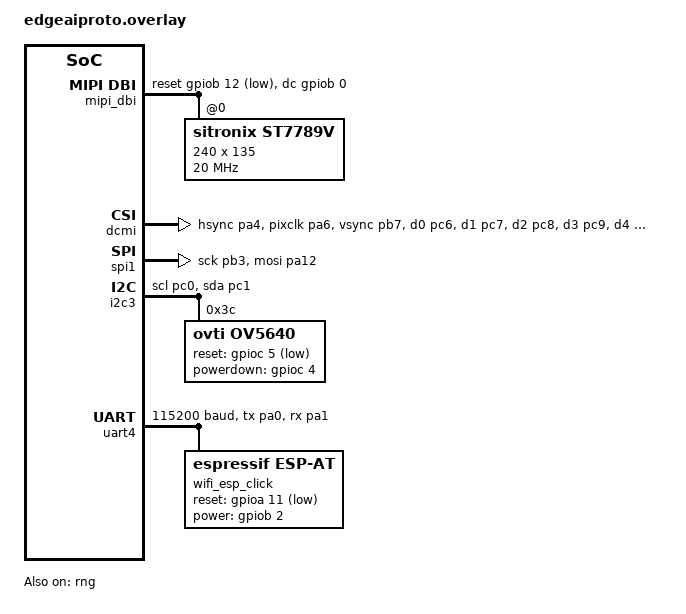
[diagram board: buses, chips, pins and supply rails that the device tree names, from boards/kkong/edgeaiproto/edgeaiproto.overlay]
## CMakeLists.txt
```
# SPDX-License-Identifier: Apache-2.0

cmake_minimum_required(VERSION 3.20.0)
# Out-of-tree modules: STM32U5 DCMI driver + Golioth Firmware SDK (see west.yml and docs/GOLIOTH_OTA.md)
set(_zephyr_extra_modules "${CMAKE_CURRENT_SOURCE_DIR}/modules/stm32u5_dcmi")
if(EXISTS "${CMAKE_CURRENT_SOURCE_DIR}/modules/golioth-firmware-sdk/zephyr/module.yml")
  set(_zephyr_extra_modules "${_zephyr_extra_modules};${CMAKE_CURRENT_SOURCE_DIR}/modules/golioth-firmware-sdk")
endif()
if(NOT ZEPHYR_EXTRA_MODULES)
  set(ZEPHYR_EXTRA_MODULES "${_zephyr_extra_modules}" CACHE STRING "Extra Zephyr modules")
endif()

# Read APP_VERSION from app_version.h and pass to imgtool for MCUboot signing
set(VERSION_HEADER "${CMAKE_CURRENT_SOURCE_DIR}/include/app_version.h")
if(EXISTS "${VERSION_HEADER}")
  file(STRINGS "${VERSION_HEADER}" VERSION_LINES REGEX "#define APP_VERSION")
  foreach(LINE ${VERSION_LINES})
    if(LINE MATCHES "#define APP_VERSION \"([^\"]+)\"")
      set(APP_VERSION "${CMAKE_MATCH_1}")
      break()
    endif()
  endforeach()
endif()
if(NOT DEFINED APP_VERSION)
  set(APP_VERSION "0.0.0")
  message(WARNING "Could not parse APP_VERSION from app_version.h, using 0.0.0")
endif()
file(WRITE "${CMAKE_CURRENT_BINARY_DIR}/version.conf"
  "CONFIG_MCUBOOT_IMGTOOL_SIGN_VERSION=\"${APP_VERSION}\"\n")
set(OVERLAY_CONFIG ${OVERLAY_CONFIG} "${CMAKE_CURRENT_BINARY_DIR}/version.conf")
message(STATUS "MCUboot image version: ${APP_VERSION} (from app_version.h)")

find_package(Zephyr REQUIRED HINTS $ENV{ZEPHYR_BASE})
project(kk_edge_ai_tflm_hello)

# Generate build version header at build time (ensures Build date updates every build)
set(BUILD_VERSION_H "${CMAKE_CURRENT_BINARY_DIR}/include/generated/build_version.h")
add_custom_target(generate_build_version
  COMMAND ${CMAKE_COMMAND} -E make_directory "${CMAKE_CURRENT_BINARY_DIR}/include/generated"
  COMMAND ${CMAKE_COMMAND} -DOUTPUT_FILE="${BUILD_VERSION_H}" -P "${CMAKE_CURRENT_SOURCE_DIR}/cmake/generate_build_version.cmake"
  COMMENT "Generating build version header"
  BYPRODUCTS "${BUILD_VERSION_H}"
)
add_dependencies(app generate_build_version)
target_include_directories(app PRIVATE
  "${CMAKE_CURRENT_BINARY_DIR}/include/generated"
  "${CMAKE_CURRENT_SOURCE_DIR}/include"
)

target_sources(app PRIVATE src/main.c)
target_sources(app PRIVATE src/golioth_capture_prompt_sync.c)
target_sources(app PRIVATE src/app_runtime.c)
target_sources(app PRIVATE src/camera_pipeline.c)
target_sources(app PRIVATE src/camera_runtime.c)
target_sources(app PRIVATE src/dfu_state.c)
target_sources(app PRIVATE src/display_text.c)
target_sources(app PRIVATE src/display_overlay.c)
target_sources(app PRIVATE src/display_screen.c)
target_sources(app PRIVATE src/input_buttons.c)
target_sources(app PRIVATE src/status_led.c)
target_sources(app PRIVATE src/esp_shell.c)
target_sources(app PRIVATE src/wifi_autoconnect.c)
target_sources(app PRIVATE src/wifi_link.c)

# ESP-AT driver private headers (needed by esp_shell.c for esp_cmd_send / esp_driver_data)
target_include_directories(app PRIVATE
  ${ZEPHYR_BASE}/drivers/wifi/esp_at
  ${ZEPHYR_BASE}/drivers/modem
)
target_sources(app PRIVATE
  src/tflm_hello_world/model_settings.c
  src/tflm_hello_world/person_detect_model_data.c
  src/tflm_hello_world/main_functions.cpp
  src/tflm_hello_world/output_handler.cpp
  src/tflm_hello_world/assert.cpp
)
target_include_directories(app PRIVATE src/tflm_hello_world)

# TFLM hello_world uses local static init; disable thread-safe statics for C++
zephyr_compile_options($<$<COMPILE_LANGUAGE:CXX>:-fno-threadsafe-statics>)

if(CONFIG_GOLIOTH_OTA)
  if(NOT EXISTS "${CMAKE_CURRENT_SOURCE_DIR}/modules/golioth-firmware-sdk/zephyr/module.yml")
    message(FATAL_ERROR "Golioth Firmware SDK not found. Clone v0.22.0 into modules/golioth-firmware-sdk (see docs/GOLIOTH_OTA.md).")
  endif()
  target_sources(app PRIVATE
    src/golioth_ota.c
    src/golioth_ui.c
    src/ota_download_ui.c
    ${CMAKE_CURRENT_SOURCE_DIR}/modules/golioth-firmware-sdk/examples/zephyr/fw_update/src/fw_update.c
  )
  target_include_directories(app PRIVATE
    ${CMAKE_CURRENT_SOURCE_DIR}/modules/golioth-firmware-sdk/examples/zephyr/fw_update/src
  )
endif()
```

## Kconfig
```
mainmenu "Edge AI Hello World"

source "Kconfig.zephyr"

menu "Application options"

config APP_ENABLE_INFERENCE
	bool "Enable camera inference thread"
	default y
	depends on TENSORFLOW_LITE_MICRO
	help
	  Enables TensorFlow Lite Micro inference processing and starts the
	  inference runtime thread. Disable this for camera/display-only runs.

endmenu

menu "WiFi auto-connect"

config WIFI_AUTOCONNECT
	bool "Auto-connect to WiFi on boot"
	default y
	depends on WIFI_ESP_AT
	help
	  Automatically connect to the configured WiFi network at startup.
	  The connection attempt runs in a background thread so it does not
	  block camera, display, or inference.

config WIFI_AUTOCONNECT_SSID
	string "Primary WiFi SSID"
	default ""
	depends on WIFI_AUTOCONNECT
	help
	  SSID of the primary WiFi network to connect to on boot.

config WIFI_AUTOCONNECT_PSK
	string "Primary WiFi passphrase (WPA2-PSK)"
	default ""
	depends on WIFI_AUTOCONNECT
	help
	  WPA2-PSK passphrase for the primary WiFi network.
	  Leave empty for open networks.

config WIFI_AUTOCONNECT_SSID2
	string "Secondary WiFi SSID"
	default ""
	depends on WIFI_AUTOCONNECT
	help
	  SSID of a secondary WiFi network.  If the primary network is
	  not reachable, the auto-connect routine will try this one.
	  Leave empty to disable the secondary network.

config WIFI_AUTOCONNECT_PSK2
	string "Secondary WiFi passphrase (WPA2-PSK)"
	default ""
	depends on WIFI_AUTOCONNECT
	help
	  WPA2-PSK passphrase for the secondary WiFi network.
	  Leave empty for open networks.

config WIFI_AUTOCONNECT_RETRY_TIMEOUT_S
	int "Connection retry timeout (seconds)"
	default 60
	depends on WIFI_AUTOCONNECT
	help
	  How long to keep retrying the WiFi connection before giving up.
	  Set to 0 to try only once.

endmenu

if GOLIOTH_OTA

config GOLIOTH_APP_PSK_ID
	string "Golioth PSK identity (device credentials)"
	default "my-psk-id"
	help
	  Lab-only: copy from Golioth Console device details. Use per-device
	  provisioning for production (not hardcoded secrets).

config GOLIOTH_APP_PSK
	string "Golioth PSK secret"
	default "my-psk"
	help
	  Lab-only: device pre-shared key. Replace with secure storage for production.

config GOLIOTH_FW_UPDATE_PACKAGE_NAME
	string "Golioth firmware package name"
	default "main"
	help
	  Must match the package name in Golioth Console (Firmware Updates).

config GOLIOTH_FW_UPDATE_OBSERVATION_RETRY_MAX_DELAY_S
	int "Maximum delay before retrying OTA manifest observation (seconds)"
	default 300

config GOLIOTH_FW_UPDATE_THREAD_STACK_SIZE
	int "Golioth OTA thread stack size"
	default 4096

config GOLIOTH_FW_UPDATE_ROLLBACK_TIMER_S
	int "FW update rollback timer (seconds) if Golioth unreachable after boot"
	default 300

config GOLIOTH_FW_UPDATE_IDLE_DISCONNECT
	bool "Stop Golioth client when up to date or package missing from manifest"
	default n
	help
	  After a manifest, call golioth_client_stop() when there is nothing useful to do:
	  cohort target version equals APP_VERSION, or the configured package name is absent from
	  the manifest. Reduces Wi-Fi traffic; new deployments are not detected until reboot
	  (or future reconnect logic).

endif # GOLIOTH_OTA
```

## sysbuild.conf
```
SB_CONFIG_BOOTLOADER_MCUBOOT=y
SB_CONFIG_MCUBOOT_MODE_OVERWRITE_ONLY=y
SB_CONFIG_BOOT_SIGNATURE_TYPE_ECDSA_P256=y
```

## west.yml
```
# SPDX-License-Identifier: Apache-2.0
#
# Merge this project into your Zephyr workspace west.yml under `projects:`, or
# use it as a supplemental manifest (see docs/GOLIOTH_OTA.md).
#
manifest:
  version: "0.13"
  remotes:
    - name: golioth
      url-base: https://github.com/golioth
  projects:
    - name: golioth-firmware-sdk
      path: modules/golioth-firmware-sdk
      remote: golioth
      revision: v0.22.0
```

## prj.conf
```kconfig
CONFIG_CACHE_MANAGEMENT=y
CONFIG_ICACHE=y

CONFIG_LOG=y
# All logging handled in dedicated thread (format + output); callers only enqueue
CONFIG_LOG_MODE_DEFERRED=y
# Increase buffer so high-rate logs don't drop (tune if needed)
CONFIG_LOG_BUFFER_SIZE=2048
# Default level for modules that do not set one (keep off).
CONFIG_LOG_DEFAULT_LEVEL=0
# Runtime filters default to LOG_DEFAULT_LEVEL (0) and silence all modules at boot,
# including those registered with LOG_LEVEL_INF. Turn off so compile-time per-module
# levels apply (see app_stats in camera_runtime.c for FPS / inference only).
CONFIG_LOG_RUNTIME_FILTERING=n
# Compile in INFO for the app_stats module; keep max at INF so we do not pull in DBG.
CONFIG_LOG_MAX_LEVEL=3
# No log output — required when MCUmgr shares UART with console (camera running).
# Any log output can corrupt SMP responses. Use 1+ for debug when camera is off.

# Full libc for TFLM and general use
CONFIG_REQUIRES_FULL_LIBC=y

CONFIG_DISPLAY=y
CONFIG_MIPI_DBI=y
CONFIG_SPI=y
CONFIG_SPI_STM32_DMA=y
CONFIG_GPIO=y
CONFIG_CBPRINTF_FP_SUPPORT=y

CONFIG_DMA=y
# UART DMA: when console UART has dmas in devicetree (uart_dma.overlay),
# the STM32 driver uses DMA if its Kconfig supports it (symbol name may vary per Zephyr/board).

CONFIG_I2C=y
CONFIG_VIDEO=y
CONFIG_VIDEO_OV5640=y
# Use out-of-tree STM32U5 DCMI driver (st,stm32u5-dcmi); in-tree driver not used
# CONFIG_VIDEO_STM32_DCMI=n
CONFIG_VIDEO_STM32U5_DCMI=y

# Heap set in Golioth block below (mbedTLS + Golioth + app)
CONFIG_VIDEO_BUFFER_POOL_SZ_MAX=64
CONFIG_VIDEO_BUFFER_POOL_NUM_MAX=1
CONFIG_VIDEO_BUFFER_POOL_ALIGN=64

# CONFIG_VIDEO_LOG_LEVEL_DBG=y
# CONFIG_DMA_LOG_LEVEL_DBG=y

CONFIG_CPP=y
CONFIG_STD_CPP17=y
CONFIG_APP_ENABLE_INFERENCE=y
CONFIG_TENSORFLOW_LITE_MICRO=y
# Enable optimized CMSIS-NN kernels for TFLM (faster conv/depthwise/FC)
CONFIG_TENSORFLOW_LITE_MICRO_CMSIS_NN_KERNELS=y
CONFIG_MAIN_STACK_SIZE=1536
CONFIG_REQUIRES_FLOAT_PRINTF=y

# MCUBoot bootloader support
CONFIG_BOOTLOADER_MCUBOOT=y
CONFIG_FLASH=y
CONFIG_FLASH_MAP=y
CONFIG_STREAM_FLASH=y
CONFIG_IMG_MANAGER=y
# Erase progressively so device responds faster (avoids full-slot erase before first chunk)
CONFIG_IMG_ERASE_PROGRESSIVELY=y

# MCUmgr SMP over UART (firmware update)
CONFIG_MCUMGR=y
CONFIG_NET_BUF=y
CONFIG_ZCBOR=y
CONFIG_BASE64=y
CONFIG_CRC=y
CONFIG_UART_INTERRUPT_DRIVEN=y
CONFIG_MCUMGR_TRANSPORT_UART=y
CONFIG_MCUMGR_GRP_IMG=y
CONFIG_MCUMGR_GRP_OS=y
CONFIG_MCUMGR_MGMT_NOTIFICATION_HOOKS=y
CONFIG_MCUMGR_SMP_COMMAND_STATUS_HOOKS=y
CONFIG_MCUMGR_GRP_IMG_STATUS_HOOKS=y
CONFIG_SYSTEM_WORKQUEUE_STACK_SIZE=4096
# Higher priority than camera (7) so MCUmgr image handler can preempt during DFU
CONFIG_SYSTEM_WORKQUEUE_PRIORITY=0
CONFIG_MCUMGR_TRANSPORT_NETBUF_SIZE=1024
CONFIG_MPU_ALLOW_FLASH_WRITE=y

# Entropy (required by networking stack for random number generation)
CONFIG_ENTROPY_GENERATOR=y
CONFIG_TEST_RANDOM_GENERATOR=n

# Networking stack (required for WiFi)
CONFIG_NETWORKING=y
CONFIG_NET_IPV4=y
CONFIG_NET_TCP=y
CONFIG_NET_UDP=y
CONFIG_NET_SOCKETS=y
CONFIG_NET_DHCPV4=y
CONFIG_NET_LOG=y

# ESP-AT WiFi driver (WiFi ESP Click on UART4)
CONFIG_WIFI=y
CONFIG_WIFI_ESP_AT=y
# Zephyr ESP-AT driver supports up to 2.1.x in this SDK.
# We upgraded the modem to 2.2.2; 2.1 is the closest supported profile.
CONFIG_WIFI_ESP_AT_VERSION_2_1=y
# Above camera/display/inference (11): avoid sharing priority 7 with ESP-AT (starved I/O → -116).
CONFIG_WIFI_ESP_AT_RX_THREAD_PRIORITY=6
CONFIG_WIFI_ESP_AT_WORKQ_THREAD_PRIORITY=6
CONFIG_WIFI_LOG_LEVEL_ERR=y

# WiFi auto-connect at boot (configure SSID/PSK here)
CONFIG_WIFI_AUTOCONNECT=y

# CONFIG_WIFI_AUTOCONNECT_RETRY_TIMEOUT_S=60

# Golioth Firmware SDK + cloud OTA (see docs/GOLIOTH_OTA.md; clone SDK into modules/golioth-firmware-sdk)
# Golioth uses POSIX eventfd via ZVFS; defaults are too low with camera/TFLM/net — see golioth_sys_zephyr eventfd errors.
CONFIG_ZVFS_OPEN_MAX=32
CONFIG_ZVFS_EVENTFD_MAX=24
CONFIG_GOLIOTH_FIRMWARE_SDK=y
CONFIG_GOLIOTH_OTA=y
# After manifest: stop client if up to date or CONFIG_GOLIOTH_FW_UPDATE_PACKAGE_NAME not in manifest.
CONFIG_GOLIOTH_FW_UPDATE_IDLE_DISCONNECT=y
# Zephyr CoAP default path length is 12; OTA artifact URIs from the manifest are longer. SDK ties
# CONFIG_GOLIOTH_COAP_MAX_PATH_LEN to COAP_EXTENDED_OPTIONS_LEN_VALUE (see port/zephyr/Kconfig "CoAP").
CONFIG_COAP_EXTENDED_OPTIONS_LEN=y
CONFIG_COAP_EXTENDED_OPTIONS_LEN_VALUE=128
# Zephyr LOG_* for Golioth SDK modules (golioth_coap_client_zephyr, golioth_sys_zephyr, …); ERR only.
CONFIG_GOLIOTH_LOG_LEVEL_ERR=y
# GLTH_LOGX internal level in SDK (1 = error per modules/golioth-firmware-sdk/src/Kconfig.logging)
CONFIG_GOLIOTH_DEBUG_DEFAULT_LOG_LEVEL=1
CONFIG_GOLIOTH_AUTH_METHOD_PSK=y
CONFIG_DNS_RESOLVER=y
CONFIG_DNS_SERVER_IP_ADDRESSES=y
CONFIG_DNS_SERVER1="1.1.1.1"
CONFIG_MBEDTLS_ENABLE_HEAP=y
CONFIG_MBEDTLS_HEAP_SIZE=16384
CONFIG_MBEDTLS_PSA_CRYPTO_C=y
CONFIG_IMG_ENABLE_IMAGE_CHECK=y
# Lab credentials: override CONFIG_GOLIOTH_APP_PSK_ID / CONFIG_GOLIOTH_APP_PSK (Kconfig defaults) or use menuconfig
# Heap: Golioth + mbedTLS + existing app (raise if OTA fails at runtime)
CONFIG_HEAP_MEM_POOL_SIZE=196608

# Shell disabled — USART1 is dedicated to MCUmgr SMP
# CONFIG_SHELL=y
# CONFIG_SHELL_BACKEND_SERIAL=y
# CONFIG_NET_SHELL=y
# CONFIG_NET_L2_WIFI_SHELL=y

# Add WiFi network credentials below

# Add Golioth client credentials below
```

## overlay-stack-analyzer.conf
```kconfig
# Stack usage instrumentation overlay (debug only).
# Use this overlay when profiling thread stack headroom, then remove it for normal runs.

# Required for per-thread stack accounting
CONFIG_THREAD_MONITOR=y
CONFIG_THREAD_NAME=y
CONFIG_THREAD_STACK_INFO=y

# Fill stacks with a known pattern so unused space can be measured
CONFIG_INIT_STACKS=y

# Detect stack overruns early during testing
CONFIG_STACK_SENTINEL=y

# Built-in Zephyr thread analyzer
CONFIG_THREAD_ANALYZER=y
CONFIG_THREAD_ANALYZER_AUTO=y
CONFIG_THREAD_ANALYZER_AUTO_INTERVAL=15
CONFIG_THREAD_ANALYZER_USE_PRINTK=y
CONFIG_THREAD_ANALYZER_ISR_STACK_USAGE=y
```

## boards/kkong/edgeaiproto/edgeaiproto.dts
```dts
/*
 * Copyright (c) 2021 STMicroelectronics
 *
 * SPDX-License-Identifier: Apache-2.0
 */

/dts-v1/;
#include <st/u5/stm32u585Xi.dtsi>
#include <st/u5/stm32u585ritx-pinctrl.dtsi>
#include <zephyr/dt-bindings/input/input-event-codes.h>

/ {
    model = "Kenneth Kong's Edge AI Prototype board";
    compatible = "kkong,edgeaiproto";

    chosen {
        zephyr,console = &usart1;
        zephyr,shell-uart = &usart1;
        zephyr,uart-mcumgr = &usart1;
        zephyr,sram = &sram0;
        zephyr,flash = &flash0;
        zephyr,code-partition = &slot0_partition;
    };

    leds {
		compatible = "gpio-leds";

		green_led_1: led_1 {
			gpios = <&gpioc 10 GPIO_ACTIVE_LOW>;
			label = "GRN LED";
		};

		red_led_1: led_2 {
			gpios = <&gpioc 12 GPIO_ACTIVE_LOW>;
			label = "RED LED";
		};
	};

    gpio_keys {
		compatible = "gpio-keys";

		user_button_sec: button_1 {
			label = "User Btn 1";
			gpios = <&gpioa 2 (GPIO_ACTIVE_HIGH)>;
			zephyr,code = <INPUT_KEY_0>;
		};
        
        user_button_pri: button_2 {
			label = "User Btn 2";
			gpios = <&gpioa 3 (GPIO_ACTIVE_HIGH)>;
			zephyr,code = <INPUT_KEY_0>;
		};
	};

    aliases {
        led0 = &green_led_1;
        led1 = &red_led_1;
        sw0 = &user_button_pri;
        sw1 = &user_button_sec;
    };
};

/* Clock configuration - STM32U585 can run up to 160MHz */
&clk_hsi48 {
    status = "okay";
};

/* &clk_lse {
    status = "okay";
}; */

&clk_msis {
    status = "okay";
    msi-range = <4>;  /* 4MHz */
    msi-pll-mode;
};

&pll1 {
    div-m = <1>;
    mul-n = <80>;
    div-q = <2>;
    div-r = <2>;
    clocks = <&clk_msis>;
    status = "okay";
};

&rcc {
    clocks = <&pll1>;
    clock-frequency = <DT_FREQ_M(160)>;
    ahb-prescaler = <1>;
    apb1-prescaler = <1>;
    apb2-prescaler = <1>;
    apb3-prescaler = <1>;
};

/* USART1 for console - adjust pins to your design */
&usart1 {
    pinctrl-0 = <&usart1_tx_pa9 &usart1_rx_pa10>;
    pinctrl-names = "default";
    current-speed = <921600>;
    status = "okay";
};

/* Flash partitions */
&flash0 {
    partitions {
        compatible = "fixed-partitions";
        #address-cells = <1>;
        #size-cells = <1>;

        boot_partition: partition@0 {
            label = "mcuboot";
            reg = <0x00000000 DT_SIZE_K(64)>;
        };
        slot0_partition: partition@10000 {
            label = "image-0";
            reg = <0x00010000 DT_SIZE_K(768)>;
        };
        slot1_partition: partition@d0000 {
            label = "image-1";
            reg = <0x000d0000 DT_SIZE_K(768)>;
        };
        storage_partition: partition@190000 {
            label = "storage";
            reg = <0x00190000 DT_SIZE_K(64)>;
        };
    };
};

/* Enable other peripherals as needed */
&gpioa {
    status = "okay";
};

&gpiob {
    status = "okay";
};

&gpioc {
    status = "okay";
};

&spi1 {
	pinctrl-0 = <&spi1_nss_pa15 &spi1_sck_pb3
		     &spi1_miso_pb4 &spi1_mosi_pa12>;
	pinctrl-names = "default";
	status = "okay";
};

&i2c3 {
    pinctrl-0 = <&i2c3_scl_pc0 &i2c3_sda_pc1>;
    pinctrl-names = "default";
    status = "okay";
    clock-frequency = <I2C_BITRATE_FAST>;
};
```

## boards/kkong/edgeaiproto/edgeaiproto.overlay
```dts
#include <zephyr/dt-bindings/video/video-interfaces.h>

/ {
    chosen {
		zephyr,display = &st7789v;
		zephyr,camera = &dcmi;
	};

	/*
	 * MikroElektronika IPS Display Click (MIKROE-6077) overlay
	 * for custom STM32U585RI board, plugged into mikroBUS Socket 2 (J2).
	 *
	 * Click board: ER-TFT1.14-2, ST7789V controller, 135x240, SPI
	 *
	 * IPS Display Click mikroBUS pin usage:
	 *   CS   → mikroBUS pin 3  (CS)   → SPI1_CS  → PA15   (pin 50)
	 *   SCK  → mikroBUS pin 4  (SCK)  → SPI1_SCK → PB3
	 *   MOSI → mikroBUS pin 6  (MOSI) → SPI1_MOSI→ PA12
	 *   RST  → mikroBUS pin 2  (RST)  → CLICK_2_RST → PB12 (pin 33)
	 *   RS   → mikroBUS pin 15 (INT)  → CLICK_2_INT → PB0  (pin 26)
	 *         (RS = Data/Command selection pin on IPS Display Click)
	 *
	 * NOTE: The IPS Display Click routes the RS (D/C) pin to the
	 * INT position on mikroBUS. The backlight is always on (no BCK pin).
	 * The AN pin is used by the ClickID feature.
	 *
	 * Since Zephyr v3.7+, ST7789V uses the MIPI DBI driver class.
	 * The display node must live inside a zephyr,mipi-dbi-spi wrapper.
	 * - cmd-data-gpios is now dc-gpios on the mipi_dbi node
	 * - Polarity changed to GPIO_ACTIVE_HIGH for dc-gpios
	 * - spi-max-frequency is now mipi-max-frequency on the display node
	 * - reset-gpios moves to the mipi_dbi node
	 */

	mipi_dbi {
		compatible = "zephyr,mipi-dbi-spi";
		status = "okay";
		spi-dev = <&spi1>;
		dc-gpios = <&gpiob 0 GPIO_ACTIVE_HIGH>;     /* RS / D/C = PB0 */
		reset-gpios = <&gpiob 12 GPIO_ACTIVE_LOW>;   /* RST = PB12 */
		write-only;
		#address-cells = <1>;
		#size-cells = <0>;

		st7789v: st7789v@0 {
			compatible = "sitronix,st7789v";
			status = "okay";
			reg = <0>;
			mipi-max-frequency = <20000000>;
			mipi-mode = "MIPI_DBI_MODE_SPI_4WIRE";

			width  = <240>;
			height = <135>;
			x-offset = <40>;   /* for default rotation: 0x40 */
			y-offset = <52>;   /* for default rotation: 0x53 */

			vcom  = <0x19>;
			gctrl = <0x35>;
			vrhs  = <0x12>;
			vdvs  = <0x20>;
			mdac  = <0xB0>;    /* for default rotation: 0x70 */
			gamma = <0x01>;
			colmod = <0x55>;
			lcm   = <0x2c>;
			ready-time-ms = <15>;
			porch-param    = [0c 0c 00 33 33];
			cmd2en-param   = [5a 69 02 01];
			pwctrl1-param  = [a4 a1];
			pvgam-param    = [D0 04 0D 11 13 2B 3F 54 4C 18 0D 0B 1F 23];
			nvgam-param    = [D0 04 0C 11 13 2C 3F 44 51 2F 1F 1F 20 23];
			ram-param      = [00 F0];
			rgb-param      = [CD 08 14];
		};
	};

	soc {
		/*
		 * DCMI — defined from scratch (not in STM32U585 DTSI yet)
		 *
		 * Key STM32U585-specific values (from RM0456 + CMSIS headers):
		 *   Base address : 0x4202C000  (AHB2, Table 7 of RM0456)
		 *   IRQ number   : 119         (DCMI_PSSI_IRQn, STM32U585 vector table)
		 *   Clock        : AHB2 bus, bit 12 (RCC_AHB2ENR1_DCMI_PSSIEN_Pos = 12, mask 0x00001000)
		 *   DMA          : GPDMA1 ch 12, request slot 86 (LL_GPDMA1_REQUEST_DCMI_PSSI)
		 *   DMA config   : periph→memory, no-src-inc, dst-inc, word, high-prio = 0x10580
		 */
		dcmi: dcmi@4202c000 {
			compatible = "st,stm32u5-dcmi";
			reg = <0x4202c000 0x400>;

			interrupts = <119 0>;
			interrupt-names = "dcmi";

			/* DCMI_PSSIEN = bit 12 of RCC_AHB2ENR1 (CMSIS: RCC_AHB2ENR1_DCMI_PSSIEN_Pos = 12) */
			clocks = <&rcc STM32_CLOCK(AHB2, 12U)>;

			/* GPDMA1 ch 12, request slot 86 (DCMI_PSSI),
			 * config 0x10580: P2M | no-src-inc | dst-inc |
			 * src-word | dst-word | high-priority            */
			dmas = <&gpdma1 12 86 0x10580>;
			dma-names = "dcmi";

			pinctrl-0 = <
				&dcmi_hsync_pa4
				&dcmi_pixclk_pa6
				&dcmi_vsync_pb7
				&dcmi_d0_pc6
				&dcmi_d1_pc7
				&dcmi_d2_pc8
				&dcmi_d3_pc9
				&dcmi_d4_pc11
				&dcmi_d5_pb6
				&dcmi_d6_pb8
				&dcmi_d7_pb9
			>;
			pinctrl-names = "default";
			status = "okay";

			port {
				dcmi_ep_in: endpoint {
					remote-endpoint-label = "ov5640_ep_out";
					bus-width = <8>;
					hsync-active = <0>;
					vsync-active = <0>;
					pclk-sample  = <1>;
				};
			};
		};
	};
};

&gpdma1 {
	status = "okay";
};

&spi1 {
	status = "okay";
	pinctrl-0 = <&spi1_sck_pb3 &spi1_mosi_pa12>;
	pinctrl-names = "default";
	cs-gpios = <&gpioa 15 GPIO_ACTIVE_LOW>;
        dmas = <&gpdma1 0 7 0x10440>,
	       <&gpdma1 1 6 0x10480>;
	dma-names = "tx", "rx";
};

&pinctrl {
	/* DCMI parallel bus pins — AF10 for STM32U585 */
	dcmi_hsync_pa4: dcmi_hsync_pa4 {
		pinmux = <STM32_PINMUX('A', 4, AF10)>;
		bias-disable;
		slew-rate = "very-high-speed";
	};
	dcmi_pixclk_pa6: dcmi_pixclk_pa6 {
		pinmux = <STM32_PINMUX('A', 6, AF4)>;
		bias-disable;
		slew-rate = "very-high-speed";
	};
	dcmi_vsync_pb7: dcmi_vsync_pb7 {
		pinmux = <STM32_PINMUX('B', 7, AF10)>;
		bias-disable;
		slew-rate = "very-high-speed";
	};
	dcmi_d0_pc6: dcmi_d0_pc6 {
		pinmux = <STM32_PINMUX('C', 6, AF10)>;
		bias-disable;
		slew-rate = "very-high-speed";
	};
	dcmi_d1_pc7: dcmi_d1_pc7 {
		pinmux = <STM32_PINMUX('C', 7, AF10)>;
		bias-disable;
		slew-rate = "very-high-speed";
	};
	dcmi_d2_pc8: dcmi_d2_pc8 {
		pinmux = <STM32_PINMUX('C', 8, AF10)>;
		bias-disable;
		slew-rate = "very-high-speed";
	};
	dcmi_d3_pc9: dcmi_d3_pc9 {
		pinmux = <STM32_PINMUX('C', 9, AF4)>;
		bias-disable;
		slew-rate = "very-high-speed";
	};
	dcmi_d4_pc11: dcmi_d4_pc11 {
		pinmux = <STM32_PINMUX('C', 11, AF10)>;
		bias-disable;
		slew-rate = "very-high-speed";
	};
	dcmi_d5_pb6: dcmi_d5_pb6 {
		pinmux = <STM32_PINMUX('B', 6, AF10)>;
		bias-disable;
		slew-rate = "very-high-speed";
	};
	dcmi_d6_pb8: dcmi_d6_pb8 {
		pinmux = <STM32_PINMUX('B', 8, AF10)>;
		bias-disable;
		slew-rate = "very-high-speed";
	};
	dcmi_d7_pb9: dcmi_d7_pb9 {
		pinmux = <STM32_PINMUX('B', 9, AF10)>;
		bias-disable;
		slew-rate = "very-high-speed";
	};

	/* I2C3 on PC0/PC1 — AF4 for STM32U585 */
	i2c3_scl_pc0: i2c3_scl_pc0 {
		pinmux = <STM32_PINMUX('C', 0, AF4)>;
		bias-disable;
		drive-open-drain;
		slew-rate = "very-high-speed";
	};
	i2c3_sda_pc1: i2c3_sda_pc1 {
		pinmux = <STM32_PINMUX('C', 1, AF4)>;
		bias-disable;
		drive-open-drain;
		slew-rate = "very-high-speed";
	};
};

/* I2C3 — OV5640 control bus */
&i2c3 {
	pinctrl-0 = <&i2c3_scl_pc0 &i2c3_sda_pc1>;
	pinctrl-names = "default";
	status = "okay";

	ov5640: ov5640@3c {
		compatible = "ovti,ov5640";
		reg = <0x3c>;
		status = "okay";

		reset-gpios     = <&gpioc 5 GPIO_ACTIVE_LOW>;
		powerdown-gpios = <&gpioc 4 GPIO_ACTIVE_HIGH>;

		port {
			ov5640_ep_out: endpoint {
				remote-endpoint-label = "dcmi_ep_in";
				bus-type = <VIDEO_BUS_TYPE_PARALLEL>;
			};
		};
	};
};

&usart1 {
    dmas = <&gpdma1 2 41 0x10440>,   /* TX: channel 0, slot 41, mem-to-periph 8-bit */
	      <&gpdma1 3 40 0x10480>;   /* RX: channel 1, slot 40, periph-to-mem 8-bit */
	dma-names = "tx", "rx";
};

/* Hardware RNG — needed by the networking stack */
&rng {
	status = "okay";
};

/* WiFi ESP Click (MIKROE-2542) — ESP-WROOM-02 (ESP8266) on UART4 */
&uart4 {
	pinctrl-0 = <&uart4_tx_pa0 &uart4_rx_pa1>;
	pinctrl-names = "default";
	current-speed = <115200>;
	status = "okay";

	wifi_esp_click: esp-at {
		compatible = "espressif,esp-at";
		status = "okay";
		reset-gpios = <&gpioa 11 GPIO_ACTIVE_LOW>;
		power-gpios = <&gpiob 2 GPIO_ACTIVE_HIGH>;
	};
};
```

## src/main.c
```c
/*
 * Copyright (c) 2019 Jan Van Winkel <jan.van_winkel@dxplore.eu>
 *
 * Based on ST7789V sample:
 * Copyright (c) 2019 Marc Reilly
 *
 * SPDX-License-Identifier: Apache-2.0
 */

#include <zephyr/logging/log.h>
#include "app_version.h"
LOG_MODULE_REGISTER(main, LOG_LEVEL_INF);

#include <zephyr/kernel.h>
#if defined(CONFIG_MCUMGR_SMP_COMMAND_STATUS_HOOKS) || defined(CONFIG_MCUMGR_GRP_IMG_STATUS_HOOKS)
#include <zephyr/mgmt/mcumgr/mgmt/callbacks.h>
#include <zephyr/mgmt/mcumgr/mgmt/mgmt.h>
#endif
#include "camera_pipeline.h"
#include "dfu_state.h"
#include "input_buttons.h"
#include "status_led.h"
#if defined(CONFIG_GOLIOTH_OTA)
#include "golioth_capture_prompt_sync.h"
#endif

int main(void)
{
	LOG_INF("===== System Information =====");
	// LOG_INF("Board: %s", CONFIG_BOARD);
	// LOG_INF("Zephyr: %s", KERNEL_VERSION_STRING);
	LOG_INF("Clock: %.2f MHz", 0.000001 * sys_clock_hw_cycles_per_sec());
	LOG_INF("App version: %s", APP_VERSION);
	LOG_INF("Build: " __DATE__ " " __TIME__);
	LOG_INF("==============================\n");

	input_buttons_init();
	status_led_init();
	dfu_state_init();
	int ret = camera_pipeline_configure();
	if (ret != 0) {
		return ret;
	}

	// LOG_INF("====== Threads STARTING ======");
#if defined(CONFIG_GOLIOTH_OTA)
	/* After fw_update logs (e.g. "Golioth client stopped..." on idle disconnect). */
	if (k_sem_take(&golioth_capture_prompt_sem, K_SECONDS(120)) != 0) {
		LOG_WRN("Timed out waiting for fw_update; printing capture prompt anyway");
	}
#endif
	LOG_INF("Press Button 2 to start capture...\n");

	return 0;
}
```

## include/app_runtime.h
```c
#ifndef APP_RUNTIME_H_
#define APP_RUNTIME_H_

/*
 * Runtime threads are defined with K_THREAD_DEFINE in app_runtime.c.
 * No public API is required from this module.
 */

#endif /* APP_RUNTIME_H_ */
```

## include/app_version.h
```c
/*
 * Application version for MCUboot image signing and display.
 * Format: major.minor.patch (e.g. 1.0.0)
 * Bump this before each release so MCUboot installs OTA updates correctly.
 */
#ifndef APP_VERSION_H
#define APP_VERSION_H

#define APP_VERSION "3.1.1"  /* UI enhancements + 1 count frame buffer */

#endif /* APP_VERSION_H */
```

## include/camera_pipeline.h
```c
#ifndef CAMERA_PIPELINE_H_
#define CAMERA_PIPELINE_H_

#include <zephyr/device.h>

/*
 * Camera resolution toggle:
 *   Define CAMERA_RES_320x240 for 320x240, otherwise 160x120.
 *   Can be overridden via compiler definitions.
 */
#ifndef CAMERA_RES_320x240
#define CAMERA_RES_320x240
#endif

#if defined(CAMERA_RES_320x240)
#define CAMERA_W 320
#define CAMERA_H 240
#else
#define CAMERA_W 160
#define CAMERA_H 120
#endif

#define CAMERA_FRAME_BYTES (CAMERA_W * CAMERA_H * sizeof(uint16_t))

extern const struct device *ov5640;
extern const struct device *video_dev;

int camera_pipeline_configure(void);
void camera_enable_scaler(void);

#endif /* CAMERA_PIPELINE_H_ */
```

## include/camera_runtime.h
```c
#ifndef CAMERA_RUNTIME_H_
#define CAMERA_RUNTIME_H_

#include <stdbool.h>

void camera_runtime_thread(void);
void inference_thread_entry(void);
bool camera_is_capture_started(void);
void camera_request_capture_start(void);
bool camera_is_showing_frame(void);
void camera_wake_inference_thread(void);

#endif /* CAMERA_RUNTIME_H_ */
```

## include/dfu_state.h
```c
#ifndef DFU_STATE_H_
#define DFU_STATE_H_

#include <stdbool.h>

int dfu_state_init(void);
bool dfu_is_mode_active(void);
bool dfu_is_in_progress(void);
bool dfu_should_suspend(void);
void dfu_set_mode_active(bool active);

/* True only when the "Updating FW..." display should show (wired backup path or cloud first block). */
bool dfu_show_fw_updating_screen(void);

#if defined(CONFIG_GOLIOTH_OTA)
void dfu_cloud_ota_set_active(bool active);
void dfu_cloud_ota_fw_screen_set(bool active);
#endif

#endif /* DFU_STATE_H_ */
```

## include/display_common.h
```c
#ifndef DISPLAY_COMMON_H_
#define DISPLAY_COMMON_H_

#include <stdint.h>

#define COLOR_BLACK 0x00000000u
#define COLOR_WHITE 0x00FFFFFFu
#define COLOR_RED 0x00FF0000u
#define COLOR_GREEN 0x0000FF00u
#define COLOR_BLUE 0x000000FFu
#define COLOR_YELLOW 0x00FFFF00u
#define COLOR_CYAN 0x0000FFFFu
#define COLOR_MAGENTA 0x00FF00FFu
#define COLOR_ORANGE 0x00FFA500u
#define COLOR_GRAY 0x00808080u

#define DISPLAY_W 240
#define DISPLAY_H 135

#endif /* DISPLAY_COMMON_H_ */
```

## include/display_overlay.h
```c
#ifndef DISPLAY_OVERLAY_H_
#define DISPLAY_OVERLAY_H_

#include <stdbool.h>
#include <stdint.h>

#include "camera_pipeline.h"
#include "display_common.h"

#ifndef USE_160x120_CROP
#define USE_160x120_CROP 1
#endif

#if defined(USE_160x120_CROP) && USE_160x120_CROP && defined(CAMERA_RES_320x240)
#define FRAME_DISP_W 160
#define FRAME_DISP_H 120
#define FRAME_CROP_X0 80
#define FRAME_CROP_Y0 60
#elif (CAMERA_W <= DISPLAY_W && CAMERA_H <= DISPLAY_H)
#define FRAME_DISP_W CAMERA_W
#define FRAME_DISP_H CAMERA_H
#elif (CAMERA_W * DISPLAY_H <= CAMERA_H * DISPLAY_W)
#define FRAME_DISP_H DISPLAY_H
#define FRAME_DISP_W (CAMERA_W * DISPLAY_H / CAMERA_H)
#else
#define FRAME_DISP_W DISPLAY_W
#define FRAME_DISP_H (CAMERA_H * DISPLAY_W / CAMERA_W)
#endif

#define FRAME_X_OFFSET ((DISPLAY_W - FRAME_DISP_W) / 2)
#define FRAME_Y_OFFSET ((DISPLAY_H - FRAME_DISP_H) / 2)
#define PERSON_DET_THRES_PCT 80

void copy_frame_to_display(const uint8_t *src, uint8_t *dst,
			   int8_t person_score, int8_t no_person_score,
			   bool inference_enabled);

#endif /* DISPLAY_OVERLAY_H_ */
```

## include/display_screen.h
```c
#ifndef DISPLAY_SCREEN_H_
#define DISPLAY_SCREEN_H_

#include <zephyr/device.h>
#include <zephyr/drivers/display.h>

struct display_screen_ctx {
	uint8_t *text_buf;
	uint8_t bpp;
	uint16_t glyph_w;
	uint16_t glyph_h;
	int scale_num;
	int scale_den;
	int32_t grey_scale_sleep;
};

int display_screen_prepare(const struct device *display_dev,
			   struct display_capabilities *capabilities,
			   struct display_screen_ctx *ctx);
int display_screen_render_boot(const struct device *display_dev,
			       const struct display_capabilities *capabilities,
			       const struct display_screen_ctx *ctx);
void display_screen_render_dfu_mode(const struct device *display_dev,
				    const struct display_capabilities *capabilities,
				    const struct display_screen_ctx *ctx);
void display_screen_render_updating(const struct device *display_dev,
				    const struct display_capabilities *capabilities,
				    const struct display_screen_ctx *ctx);
/** Call when entering or leaving the FW-updating screen so static paint state resets. */
void display_screen_updating_invalidate(void);

#endif /* DISPLAY_SCREEN_H_ */
```

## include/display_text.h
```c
#ifndef DISPLAY_TEXT_H_
#define DISPLAY_TEXT_H_

#include <stdint.h>
#include <zephyr/device.h>
#include <zephyr/drivers/display.h>

#include "display_common.h"

#define FONT_W 8
#define FONT_H 16
#define FONT_SCALE_LARGE_NUM 3
#define FONT_SCALE_LARGE_DEN 2

uint8_t get_bpp(enum display_pixel_format fmt);
uint16_t text_center_x(uint16_t screen_w, uint16_t text_w);
void display_text(const struct device *dev, const struct display_capabilities *caps,
		  const char *str, uint16_t x_pos, uint16_t y_pos, uint32_t fg_color,
		  uint32_t bg_color, uint8_t *text_buf, uint8_t bpp,
		  int scale_num, int scale_den);
void fill_display_solid(const struct device *dev,
			const struct display_capabilities *caps, uint32_t color);
void display_solid_rect(const struct device *dev, const struct display_capabilities *caps,
			uint16_t x, uint16_t y, uint16_t w, uint16_t h, uint32_t color);
const uint8_t *display_glyph_for_char(char ch);

#endif /* DISPLAY_TEXT_H_ */
```

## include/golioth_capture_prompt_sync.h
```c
#ifndef GOLIOTH_CAPTURE_PROMPT_SYNC_H_
#define GOLIOTH_CAPTURE_PROMPT_SYNC_H_

#include <zephyr/kernel.h>

/*
 * fw_update gives this after "Golioth client stopped..." (idle disconnect) and
 * before starting an OTA download, so main can print "Press Button 2..." after
 * cloud teardown / in the download case.
 */
extern struct k_sem golioth_capture_prompt_sem;

void golioth_capture_prompt_release(void);

#endif /* GOLIOTH_CAPTURE_PROMPT_SYNC_H_ */
```

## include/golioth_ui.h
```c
/*
 * UI hint for Golioth cloud connection (e.g. preview bar color). Updated from the Golioth client
 * path; safe to read from the camera/display thread.
 */
#ifndef GOLIOTH_UI_H_
#define GOLIOTH_UI_H_

#include <stdbool.h>
#include <stdint.h>

void golioth_ui_set_cloud_connected(bool connected);
bool golioth_ui_cloud_connected(void);
void golioth_ui_set_client_started(bool started);

/** Standby third-line phases (Golioth OTA builds): WiFi → DHCP/client → cloud → local prompt. */
#define GOLIOTH_UI_STANDBY_PHASE_WIFI        0U
#define GOLIOTH_UI_STANDBY_PHASE_CLIENT_CONN 1U
#define GOLIOTH_UI_STANDBY_PHASE_UPDATE      2U
#define GOLIOTH_UI_STANDBY_PHASE_BUTTON2     3U

unsigned golioth_ui_standby_phase_id(void);

struct golioth_ui_standby_line {
	const char *text;
	uint32_t fg;
	uint32_t bg;
};

void golioth_ui_standby_get_line(struct golioth_ui_standby_line *out);

/**
 * After first-boot OTA confirm, fw_update logs "Firmware updated successfully!" and calls this.
 * The next Golioth client disconnect should trigger a warm reboot (see golioth_ota on_client_event).
 */
void golioth_ui_set_pending_reboot_after_ota_confirm(void);
/** If a pending reboot was requested, clear it and return true (for disconnect handler). */
bool golioth_ui_consume_pending_reboot_after_ota_confirm(void);

#endif /* GOLIOTH_UI_H_ */
```

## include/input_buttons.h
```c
#ifndef INPUT_BUTTONS_H_
#define INPUT_BUTTONS_H_

void input_buttons_init(void);
void input_dfu_mode_detector_thread(void);

#endif /* INPUT_BUTTONS_H_ */
```
